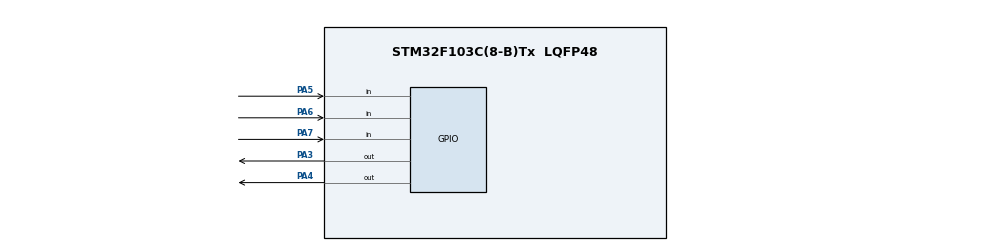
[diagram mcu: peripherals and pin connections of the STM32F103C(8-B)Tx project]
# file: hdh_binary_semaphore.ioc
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FREERTOS.BinarySemaphores01=BinarySem01,Dynamic,NULL
FREERTOS.Tasks01=Task01,2,128,Task01_function,Default,NULL,Dynamic,NULL,NULL;Task02,1,128,Task02_function,Default,NULL,Dynamic,NULL,NULL;Task03,0,128,Task03_function,Default,NULL,Dynamic,NULL,NULL
Mcu.Family=STM32F1
Mcu.Name=STM32F103C(8-B)Tx
Mcu.Package=LQFP48
NVIC.PriorityGroup=NVIC_PRIORITYGROUP_4
NVIC.TIM2_IRQn=true\:15\:0\:false\:false\:true\:false\:false\:true\:true
NVIC.TimeBase=TIM2_IRQn
NVIC.TimeBaseIP=TIM2
PA13.Mode=Serial_Wire
PA13.Signal=SYS_JTMS-SWDIO
PA14.Mode=Serial_Wire
PA14.Signal=SYS_JTCK-SWCLK
PA3.Signal=GPIO_Output
PA4.Signal=GPIO_Output
PA5.GPIO_PuPd=GPIO_PULLDOWN
PA5.Signal=GPIO_Input
PA6.GPIO_PuPd=GPIO_PULLDOWN
PA6.Signal=GPIO_Input
PA7.GPIO_PuPd=GPIO_PULLDOWN
PA7.Signal=GPIO_Input
PD0-OSC_IN.Mode=HSE-External-Oscillator
PD0-OSC_IN.Signal=RCC_OSC_IN
PD1-OSC_OUT.Mode=HSE-External-Oscillator
PD1-OSC_OUT.Signal=RCC_OSC_OUT
ProjectManager.HeapSize=0x200
ProjectManager.StackSize=0x400
ProjectManager.TargetToolchain=MDK-ARM V5
RCC.APB1Freq_Value=8000000
RCC.APB2Freq_Value=8000000
VP_FREERTOS_VS_CMSIS_V1.Mode=CMSIS_V1
VP_SYS_VS_tim2.Mode=TIM2
board=custom

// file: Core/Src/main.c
/* USER CODE BEGIN Header */
/**
  ******************************************************************************
  * @file           : main.c
  * @brief          : Main program body
  ******************************************************************************
  * @attention
  *
  * Copyright (c) 2022 STMicroelectronics.
  * All rights reserved.
  *
  * This software is licensed under terms that can be found in the LICENSE file
  * in the root directory of this software component.
  * If no LICENSE file comes with this software, it is provided AS-IS.
  *
  ******************************************************************************
  */
/* USER CODE END Header */
#include "main.h"
#include "cmsis_os.h"

osThreadId Task01Handle;
osThreadId Task02Handle;
osThreadId Task03Handle;
osSemaphoreId BinarySem01Handle;

void SystemClock_Config(void);
static void MX_GPIO_Init(void);
void Task01_function(void const * argument);
void Task02_function(void const * argument);
void Task03_function(void const * argument);

int main(void)
{

  /* MCU Configuration--------------------------------------------------------*/

  /* Reset of all peripherals, Initializes the Flash interface and the Systick. */
  HAL_Init();

  /* Configure the system clock */
  SystemClock_Config();

  /* Initialize all configured peripherals */
  MX_GPIO_Init();

  /* Create the semaphores(s) */
  /* definition and creation of BinarySem01 */
  osSemaphoreDef(BinarySem01);
  BinarySem01Handle = osSemaphoreCreate(osSemaphore(BinarySem01), 1);

  /* Create the thread(s) */
  /* definition and creation of Task01 */
  osThreadDef(Task01, Task01_function, osPriorityHigh, 0, 128);
  Task01Handle = osThreadCreate(osThread(Task01), NULL);

  /* definition and creation of Task02 */
  osThreadDef(Task02, Task02_function, osPriorityAboveNormal, 0, 128);
  Task02Handle = osThreadCreate(osThread(Task02), NULL);

  /* definition and creation of Task03 */
  osThreadDef(Task03, Task03_function, osPriorityNormal, 0, 128);
  Task03Handle = osThreadCreate(osThread(Task03), NULL);

  /* Start scheduler */
  osKernelStart();

  /* We should never get here as control is now taken by the scheduler */
  /* Infinite loop */
  while (1)
  {

  }
}

void SystemClock_Config(void)
{
  RCC_OscInitTypeDef RCC_OscInitStruct = {0};
  RCC_ClkInitTypeDef RCC_ClkInitStruct = {0};

  /** Initializes the RCC Oscillators according to the specified parameters
  * in the RCC_OscInitTypeDef structure.
  */
  RCC_OscInitStruct.OscillatorType = RCC_OSCILLATORTYPE_HSI;
  RCC_OscInitStruct.HSIState = RCC_HSI_ON;
  RCC_OscInitStruct.HSICalibrationValue = RCC_HSICALIBRATION_DEFAULT;
  RCC_OscInitStruct.PLL.PLLState = RCC_PLL_NONE;
  if (HAL_RCC_OscConfig(&RCC_OscInitStruct) != HAL_OK)
  {
    Error_Handler();
  }

  /** Initializes the CPU, AHB and APB buses clocks
  */
  RCC_ClkInitStruct.ClockType = RCC_CLOCKTYPE_HCLK|RCC_CLOCKTYPE_SYSCLK
                              |RCC_CLOCKTYPE_PCLK1|RCC_CLOCKTYPE_PCLK2;
  RCC_ClkInitStruct.SYSCLKSource = RCC_SYSCLKSOURCE_HSI;
  RCC_ClkInitStruct.AHBCLKDivider = RCC_SYSCLK_DIV1;
  RCC_ClkInitStruct.APB1CLKDivider = RCC_HCLK_DIV1;
  RCC_ClkInitStruct.APB2CLKDivider = RCC_HCLK_DIV1;

  if (HAL_RCC_ClockConfig(&RCC_ClkInitStruct, FLASH_LATENCY_0) != HAL_OK)
  {
    Error_Handler();
  }
}

static void MX_GPIO_Init(void)
{
  GPIO_InitTypeDef GPIO_InitStruct = {0};

  /* GPIO Ports Clock Enable */
  __HAL_RCC_GPIOD_CLK_ENABLE();
  __HAL_RCC_GPIOA_CLK_ENABLE();

  /*Configure GPIO pin Output Level */
  HAL_GPIO_WritePin(GPIOA, GPIO_PIN_3|GPIO_PIN_4, GPIO_PIN_RESET);

  /*Configure GPIO pins : PA3 PA4 */
  GPIO_InitStruct.Pin = GPIO_PIN_3|GPIO_PIN_4;
  GPIO_InitStruct.Mode = GPIO_MODE_OUTPUT_PP;
  GPIO_InitStruct.Pull = GPIO_NOPULL;
  GPIO_InitStruct.Speed = GPIO_SPEED_FREQ_LOW;
  HAL_GPIO_Init(GPIOA, &GPIO_InitStruct);

  /*Configure GPIO pins : PA5 PA6 PA7 */
  GPIO_InitStruct.Pin = GPIO_PIN_5|GPIO_PIN_6|GPIO_PIN_7;
  GPIO_InitStruct.Mode = GPIO_MODE_INPUT;
  GPIO_InitStruct.Pull = GPIO_PULLDOWN;
  HAL_GPIO_Init(GPIOA, &GPIO_InitStruct);

}

void Task01_function(void const * argument)
{
  /* USER CODE BEGIN 5 */
  /* Infinite loop */
  for(;;)
  {
    osSemaphoreWait(BinarySem01Handle, osWaitForever);// dowm: tru bien dem di 1 neu be hon 0 >> blocked
		{
			HAL_GPIO_TogglePin(GPIOA, GPIO_PIN_3);
			osDelay(100);
		}
  }
  /* USER CODE END 5 */
}

void Task02_function(void const * argument)
{
  /* USER CODE BEGIN Task02_function */
  /* Infinite loop */
  for(;;)
  {
    if(HAL_GPIO_ReadPin(GPIOA, GPIO_PIN_5)==1)
		{
			HAL_GPIO_WritePin(GPIOA, GPIO_PIN_4,1);
			while(HAL_GPIO_ReadPin(GPIOA, GPIO_PIN_5)==1) {};// chong doi
		}
		if(HAL_GPIO_ReadPin(GPIOA, GPIO_PIN_6)==1)
		{
			HAL_GPIO_WritePin(GPIOA, GPIO_PIN_4,0);
			while(HAL_GPIO_ReadPin(GPIOA, GPIO_PIN_6)==1) {};// chong doi
		}
		osDelay(100);
  }
  /* USER CODE END Task02_function */
}

void Task03_function(void const * argument)
{
  /* USER CODE BEGIN Task03_function */
  /* Infinite loop */
	uint8_t check=0;
  for(;;)
  {
		if(HAL_GPIO_ReadPin(GPIOA, GPIO_PIN_7)==1)
		{
			while(HAL_GPIO_ReadPin(GPIOA, GPIO_PIN_7)==1) {};
			check=!check;
		}
		if(check==0)
		{
			osSemaphoreRelease(BinarySem01Handle); //Up: tang bien dem len 1 .
		}
		osDelay(100);
  }
  /* USER CODE END Task03_function */
}

void HAL_TIM_PeriodElapsedCallback(TIM_HandleTypeDef *htim)
{
  if (htim->Instance == TIM2) {
    HAL_IncTick();
  }
}

void Error_Handler(void)
{
  __disable_irq();
  while (1)
  {
  }
}
